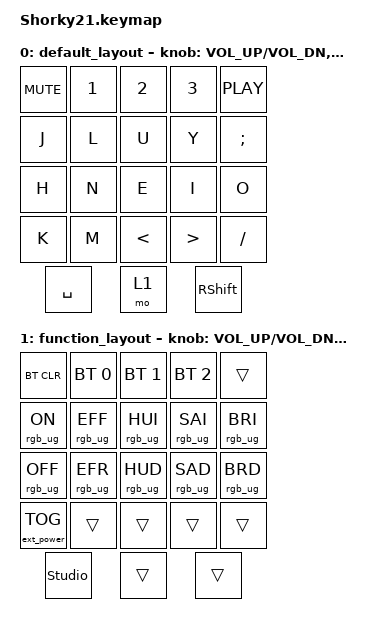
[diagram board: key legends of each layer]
#include <behaviors.dtsi>
#include <dt-bindings/zmk/keys.h>
#include <dt-bindings/zmk/bt.h>
#include <dt-bindings/zmk/rgb.h>
#include <dt-bindings/zmk/ext_power.h>

&led_strip {
    chain-length = <4>;
};


/ {
    keymap {
        compatible = "zmk,keymap";

        default_layout { // Default Layer
            bindings = <
                &kp C_MUTE    &kp N1    &kp N2    &kp N3      &kp C_PLAY 
                &kp J         &kp L     &kp U     &kp Y       &kp SEMI 
                &kp H         &kp N     &kp E     &kp I       &kp O
                &kp K         &kp M     &kp LT    &kp GT      &kp FSLH
                    &kp SPACE           &mo 1          &kp RSHFT 
            >;
            sensor-bindings = <&inc_dec_kp C_VOL_UP C_VOL_DN &inc_dec_kp PG_DN PG_UP>;
        };
	function_layout {
		bindings = <
                &bt BT_CLR        &bt BT_SEL 0      &bt BT_SEL 1      &bt BT_SEL 2       &trans
                &rgb_ug RGB_ON   &rgb_ug RGB_EFF   &rgb_ug RGB_HUI   &rgb_ug RGB_SAI    &rgb_ug RGB_BRI
                &rgb_ug RGB_OFF  &rgb_ug RGB_EFR   &rgb_ug RGB_HUD   &rgb_ug RGB_SAD    &rgb_ug RGB_BRD
		&ext_power EP_TOG                           &trans            &trans            &trans             &trans
                         &studio_unlock                     &trans                       &trans
            >;
	    sensor-bindings = <&inc_dec_kp C_VOL_UP C_VOL_DN &inc_dec_kp PG_DN PG_UP>;
        };
    };
 };
